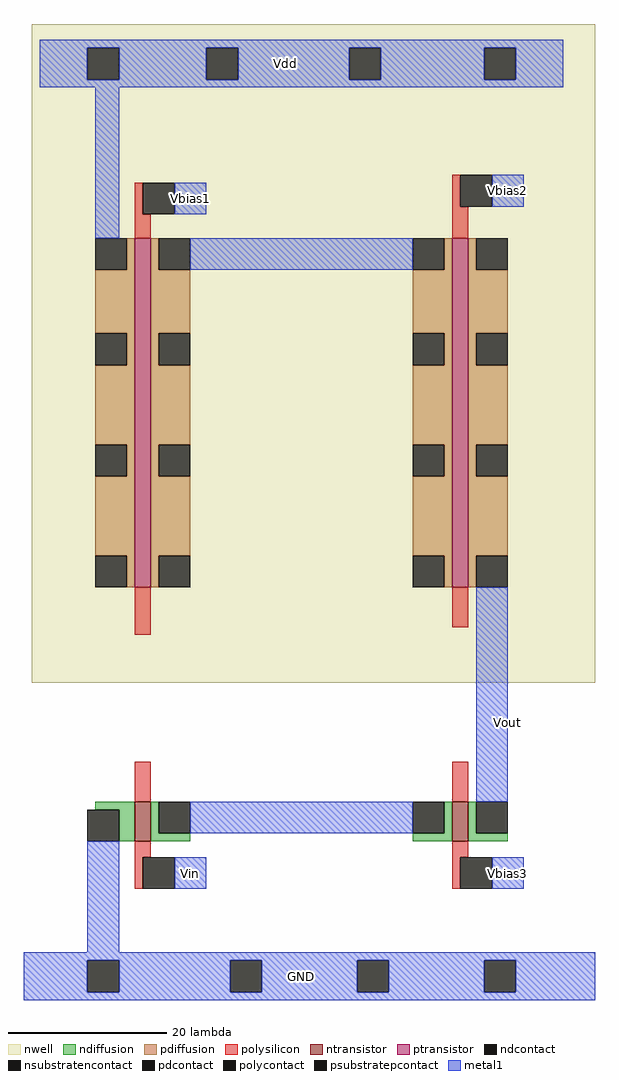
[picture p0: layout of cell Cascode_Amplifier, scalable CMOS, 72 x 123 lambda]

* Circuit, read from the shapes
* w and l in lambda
.subckt Cascode_Amplifier GND Vbias1 Vbias2 Vbias3 Vdd Vin Vout
M1 n1 Vin GND GND nfet w=5 l=2
M2 Vout Vbias3 n1 GND nfet w=5 l=2
M3 n2 Vbias1 Vdd Vdd pfet w=44 l=2
M4 Vout Vbias2 n2 Vdd pfet w=44 l=2
.ends

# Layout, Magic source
magic
tech scmos
<< nwell >>
rect -33 -13 38 70
<< polysilicon >>
rect -20 46 -19 50
rect 20 47 21 51
rect -20 43 -18 46
rect 20 43 22 47
rect -20 -7 -18 -1
rect 20 -6 22 -1
rect -20 -28 -18 -23
rect 20 -28 22 -23
rect -20 -35 -18 -33
rect 20 -35 22 -33
rect -20 -39 -19 -35
rect 20 -39 21 -35
<< ndiffusion >>
rect -25 -29 -20 -28
rect -22 -33 -20 -29
rect -18 -32 -17 -28
rect -18 -33 -13 -32
rect 19 -32 20 -28
rect 15 -33 20 -32
rect 22 -32 23 -28
rect 22 -33 27 -32
<< pdiffusion >>
rect -21 39 -20 43
rect -25 31 -20 39
rect -21 27 -20 31
rect -25 17 -20 27
rect -21 13 -20 17
rect -25 3 -20 13
rect -21 -1 -20 3
rect -18 39 -17 43
rect -18 31 -13 39
rect -18 27 -17 31
rect -18 17 -13 27
rect -18 13 -17 17
rect -18 3 -13 13
rect -18 -1 -17 3
rect 19 39 20 43
rect 15 31 20 39
rect 19 27 20 31
rect 15 17 20 27
rect 19 13 20 17
rect 15 3 20 13
rect 19 -1 20 3
rect 22 39 23 43
rect 22 31 27 39
rect 22 27 23 31
rect 22 17 27 27
rect 22 13 23 17
rect 22 3 27 13
rect 22 -1 23 3
<< metal1 >>
rect -32 67 34 68
rect -32 63 -26 67
rect -22 63 -11 67
rect -7 63 7 67
rect 11 63 24 67
rect 28 63 34 67
rect -32 62 34 63
rect -25 43 -22 62
rect -15 46 -11 50
rect 25 47 29 51
rect -13 39 15 43
rect 23 -28 27 -1
rect -13 -32 15 -28
rect -26 -47 -22 -33
rect -15 -39 -11 -35
rect 25 -39 29 -35
rect -34 -48 38 -47
rect -34 -52 -26 -48
rect -22 -52 -8 -48
rect -4 -52 8 -48
rect 12 -52 24 -48
rect 28 -52 38 -48
rect -34 -53 38 -52
<< ntransistor >>
rect -20 -33 -18 -28
rect 20 -33 22 -28
<< ptransistor >>
rect -20 -1 -18 43
rect 20 -1 22 43
<< polycontact >>
rect -19 46 -15 50
rect 21 47 25 51
rect -19 -39 -15 -35
rect 21 -39 25 -35
<< ndcontact >>
rect -26 -33 -22 -29
rect -17 -32 -13 -28
rect 15 -32 19 -28
rect 23 -32 27 -28
<< pdcontact >>
rect -25 39 -21 43
rect -25 27 -21 31
rect -25 13 -21 17
rect -25 -1 -21 3
rect -17 39 -13 43
rect -17 27 -13 31
rect -17 13 -13 17
rect -17 -1 -13 3
rect 15 39 19 43
rect 15 27 19 31
rect 15 13 19 17
rect 15 -1 19 3
rect 23 39 27 43
rect 23 27 27 31
rect 23 13 27 17
rect 23 -1 27 3
<< psubstratepcontact >>
rect -26 -52 -22 -48
rect -8 -52 -4 -48
rect 8 -52 12 -48
rect 24 -52 28 -48
<< nsubstratencontact >>
rect -26 63 -22 67
rect -11 63 -7 67
rect 7 63 11 67
rect 24 63 28 67
<< labels >>
rlabel metal1 -13 48 -13 48 1 Vbias1
rlabel metal1 -1 65 -1 65 5 Vdd
rlabel metal1 27 49 27 49 1 Vbias2
rlabel metal1 -13 -37 -13 -37 1 Vin
rlabel metal1 27 -37 27 -37 1 Vbias3
rlabel metal1 1 -50 1 -50 1 GND
rlabel metal1 27 -19 27 -17 1 Vout
<< end >>
